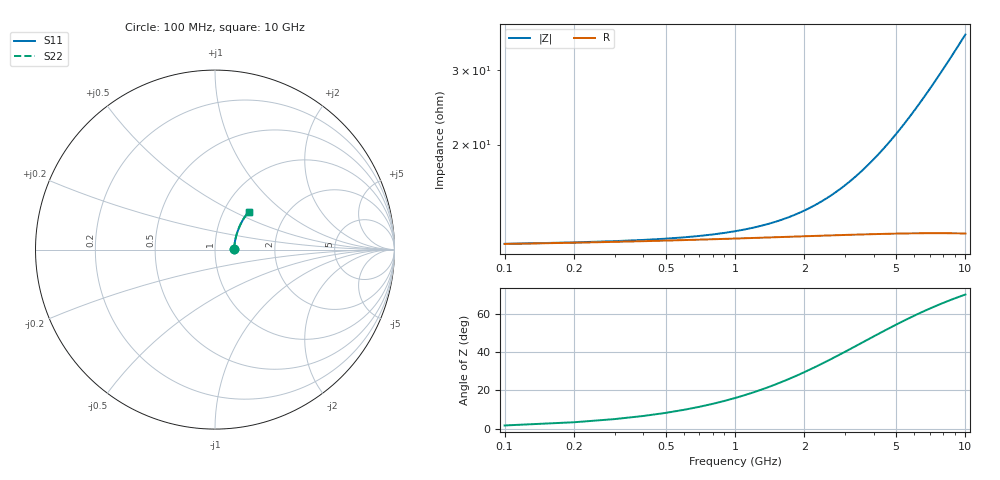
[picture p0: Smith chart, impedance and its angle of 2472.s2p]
# Hz S RI R 50.00
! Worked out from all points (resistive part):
!   100 points, 100 MHz to 10 GHz, reference 50 ohm
!   read as one part in series: R = 11.7 ohm at 100 MHz
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1e8  0.1044 0.00237  0.8956 -0.00315  0.8956 -0.00315  0.1044 0.00237
2e8  0.105 0.00474  0.895 -0.0063  0.895 -0.0063  0.105 0.00474
7e8  0.107 0.0165  0.893 -0.022  0.893 -0.022  0.107 0.0165
1e9  0.108 0.0235  0.892 -0.0314  0.892 -0.0314  0.108 0.0235
1.2e9  0.1087 0.0282  0.8913 -0.0376  0.8913 -0.0376  0.1087 0.0282
1.4e9  0.1094 0.0328  0.8906 -0.0438  0.8906 -0.0438  0.1094 0.0328
1.8e9  0.1109 0.0421  0.889 -0.0562  0.889 -0.0562  0.1109 0.0421
2.1e9  0.1121 0.049  0.8877 -0.0655  0.8877 -0.0655  0.1121 0.049
2.5e9  0.114 0.0582  0.8858 -0.0778  0.8858 -0.0778  0.114 0.0582
2.9e9  0.116 0.0673  0.8837 -0.0901  0.8837 -0.0901  0.116 0.0673
3.4e9  0.1189 0.0786  0.8807 -0.1053  0.8807 -0.1053  0.1189 0.0786
4.4e9  0.1257 0.1008  0.8737 -0.1353  0.8737 -0.1353  0.1257 0.1008
5.1e9  0.1313 0.1159  0.8679 -0.1559  0.8679 -0.1559  0.1313 0.1159
5.9e9  0.1384 0.1327  0.8604 -0.179  0.8604 -0.179  0.1384 0.1327
6.3e9  0.1423 0.141  0.8563 -0.1904  0.8563 -0.1904  0.1423 0.141
6.7e9  0.1464 0.1491  0.8521 -0.2017  0.8521 -0.2017  0.1464 0.1491
7.1e9  0.1508 0.157  0.8476 -0.2128  0.8476 -0.2128  0.1508 0.157
7.5e9  0.1553 0.1648  0.8429 -0.2237  0.8429 -0.2237  0.1553 0.1648
7.9e9  0.1599 0.1725  0.838 -0.2345  0.838 -0.2345  0.1599 0.1725
8.4e9  0.1661 0.1818  0.8316 -0.2478  0.8316 -0.2478  0.1661 0.1818
9.2e9  0.1764 0.1962  0.8208 -0.2685  0.8208 -0.2685  0.1764 0.1962
1e10  0.1874 0.2099  0.8093 -0.2886  0.8093 -0.2886  0.1874 0.2099
